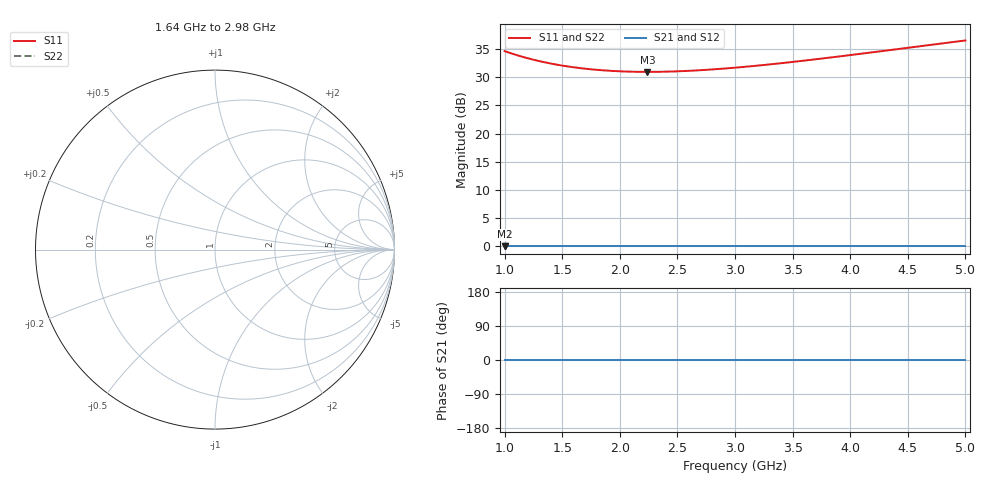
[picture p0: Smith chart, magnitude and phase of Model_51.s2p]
# GHZ S RI R 50
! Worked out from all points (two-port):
!   401 points, 1 GHz to 5 GHz, reference 50 ohm
!   highest |S21| = 0.00 dB at 1 GHz (marker M1); lowest = 0.0 dB at 1 GHz (marker M2)
!   |S21| within 3 dB of the highest: start of sweep to end of sweep
!   lowest |S11| = 31.0 dB at 2.24 GHz (marker M3)
!   |S11| at or under -10 dB: nowhere
!   |S22| runs from 31.0 to 36.5 dB; largest |S21 - S12| = 0
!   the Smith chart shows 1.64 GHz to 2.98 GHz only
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1  53.95 0  1 0  1 0  53.95 0
1.15  48.18 0  1 0  1 0  48.18 0
1.22  46.06 0  1 0  1 0  46.06 0
1.3  44 0  1 0  1 0  44 0
1.38  42.25 0  1 0  1 0  42.25 0
1.47  40.61 0  1 0  1 0  40.61 0
1.57  39.13 0  1 0  1 0  39.13 0
1.67  37.94 0  1 0  1 0  37.94 0
1.8  36.79 0  1 0  1 0  36.79 0
1.94  35.95 0  1 0  1 0  35.95 0
2.09  35.44 0  1 0  1 0  35.44 0
2.24  35.28 0  1 0  1 0  35.28 0
2.34  35.34 0  1 0  1 0  35.34 0
2.5  35.69 0  1 0  1 0  35.69 0
2.66  36.31 0  1 0  1 0  36.31 0
3  38.43 0  1 0  1 0  38.43 0
3.33  41.4 0  1 0  1 0  41.4 0
3.67  45.26 0  1 0  1 0  45.26 0
4  49.72 0  1 0  1 0  49.72 0
4.34  55 0  1 0  1 0  55 0
4.63  60.02 0  1 0  1 0  60.02 0
5  67.08 0  1 0  1 0  67.08 0
